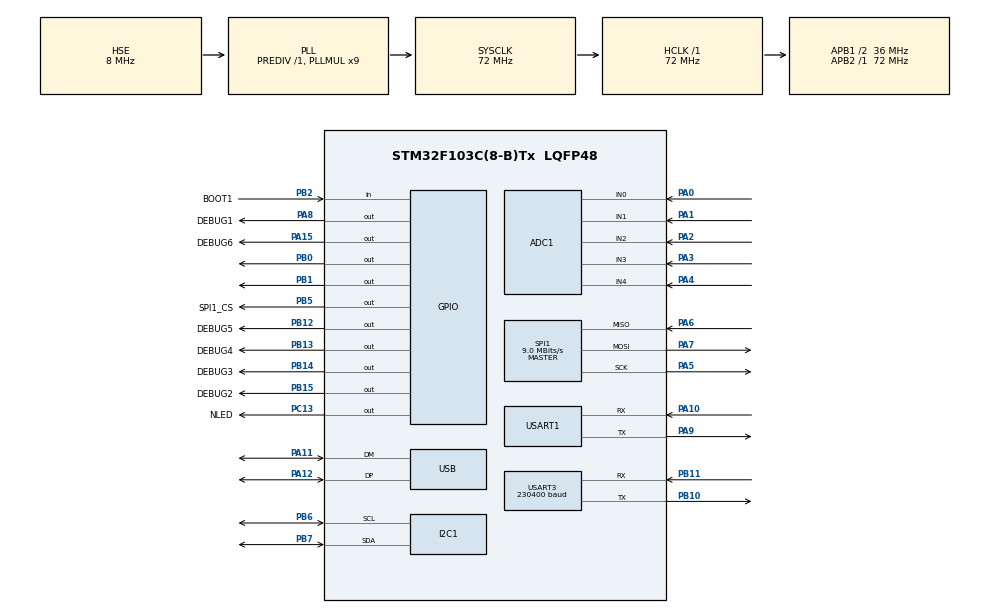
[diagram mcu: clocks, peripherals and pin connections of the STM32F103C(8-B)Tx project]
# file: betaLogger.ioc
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ADC1.Channel-0\#ChannelRegularConversion=ADC_CHANNEL_0
ADC1.Channel-1\#ChannelRegularConversion=ADC_CHANNEL_1
ADC1.Channel-2\#ChannelRegularConversion=ADC_CHANNEL_2
ADC1.Channel-3\#ChannelRegularConversion=ADC_CHANNEL_3
ADC1.Channel-4\#ChannelRegularConversion=ADC_CHANNEL_4
ADC1.ExternalTrigConv=ADC_EXTERNALTRIGCONV_T3_TRGO
ADC1.NbrOfConversion=5
ADC1.NbrOfConversionFlag=1
ADC1.Rank-0\#ChannelRegularConversion=1
ADC1.Rank-1\#ChannelRegularConversion=2
ADC1.Rank-2\#ChannelRegularConversion=3
ADC1.Rank-3\#ChannelRegularConversion=4
ADC1.Rank-4\#ChannelRegularConversion=5
ADC1.SamplingTime-0\#ChannelRegularConversion=ADC_SAMPLETIME_13CYCLES_5
ADC1.SamplingTime-1\#ChannelRegularConversion=ADC_SAMPLETIME_13CYCLES_5
ADC1.SamplingTime-2\#ChannelRegularConversion=ADC_SAMPLETIME_13CYCLES_5
ADC1.SamplingTime-3\#ChannelRegularConversion=ADC_SAMPLETIME_13CYCLES_5
ADC1.SamplingTime-4\#ChannelRegularConversion=ADC_SAMPLETIME_13CYCLES_5
ADC1.master=1
Dma.ADC1.2.Direction=DMA_PERIPH_TO_MEMORY
Dma.ADC1.2.Instance=DMA1_Channel1
Dma.ADC1.2.MemDataAlignment=DMA_MDATAALIGN_HALFWORD
Dma.ADC1.2.MemInc=DMA_MINC_ENABLE
Dma.ADC1.2.Mode=DMA_CIRCULAR
Dma.ADC1.2.PeriphDataAlignment=DMA_PDATAALIGN_HALFWORD
Dma.ADC1.2.PeriphInc=DMA_PINC_DISABLE
Dma.ADC1.2.Priority=DMA_PRIORITY_HIGH
Dma.Request0=USART3_RX
Dma.Request1=USART3_TX
Dma.Request2=ADC1
Dma.USART3_RX.0.Direction=DMA_PERIPH_TO_MEMORY
Dma.USART3_RX.0.Instance=DMA1_Channel3
Dma.USART3_RX.0.MemDataAlignment=DMA_MDATAALIGN_BYTE
Dma.USART3_RX.0.MemInc=DMA_MINC_ENABLE
Dma.USART3_RX.0.Mode=DMA_NORMAL
Dma.USART3_RX.0.PeriphDataAlignment=DMA_PDATAALIGN_BYTE
Dma.USART3_RX.0.PeriphInc=DMA_PINC_DISABLE
Dma.USART3_RX.0.Priority=DMA_PRIORITY_VERY_HIGH
Dma.USART3_TX.1.Direction=DMA_MEMORY_TO_PERIPH
Dma.USART3_TX.1.Instance=DMA1_Channel2
Dma.USART3_TX.1.MemDataAlignment=DMA_MDATAALIGN_BYTE
Dma.USART3_TX.1.MemInc=DMA_MINC_ENABLE
Dma.USART3_TX.1.Mode=DMA_NORMAL
Dma.USART3_TX.1.PeriphDataAlignment=DMA_PDATAALIGN_BYTE
Dma.USART3_TX.1.PeriphInc=DMA_PINC_DISABLE
Dma.USART3_TX.1.Priority=DMA_PRIORITY_VERY_HIGH
I2C1.I2C_Mode=I2C_Fast
Mcu.Family=STM32F1
Mcu.Name=STM32F103C(8-B)Tx
Mcu.Package=LQFP48
NVIC.ADC1_2_IRQn=true\:0\:0\:false\:false\:true\:true\:true
NVIC.DMA1_Channel1_IRQn=true\:0\:0\:false\:false\:true\:false\:true
NVIC.DMA1_Channel2_IRQn=true\:0\:0\:false\:false\:true\:false\:true
NVIC.DMA1_Channel3_IRQn=true\:0\:0\:false\:false\:true\:false\:true
NVIC.I2C1_ER_IRQn=true\:0\:0\:false\:false\:true\:true\:true
NVIC.I2C1_EV_IRQn=true\:2\:0\:true\:false\:true\:true\:true
NVIC.PriorityGroup=NVIC_PRIORITYGROUP_4
NVIC.TIM3_IRQn=true\:1\:0\:true\:false\:true\:true\:true
NVIC.USART3_IRQn=true\:15\:0\:true\:false\:true\:true\:true
PA0-WKUP.Signal=ADCx_IN0
PA1.Signal=ADCx_IN1
PA10.Mode=Asynchronous
PA10.Signal=USART1_RX
PA11.Mode=Device
PA11.Signal=USB_DM
PA12.Mode=Device
PA12.Signal=USB_DP
PA13.Mode=Serial_Wire
PA13.Signal=SYS_JTMS-SWDIO
PA14.Mode=Serial_Wire
PA14.Signal=SYS_JTCK-SWCLK
PA15.GPIO_Label=DEBUG6
PA15.Signal=GPIO_Output
PA2.Signal=ADCx_IN2
PA3.Signal=ADCx_IN3
PA4.Signal=ADCx_IN4
PA5.Mode=Full_Duplex_Master
PA5.Signal=SPI1_SCK
PA6.Mode=Full_Duplex_Master
PA6.Signal=SPI1_MISO
PA7.Mode=Full_Duplex_Master
PA7.Signal=SPI1_MOSI
PA8.GPIO_Label=DEBUG1
PA8.Signal=GPIO_Output
PA9.Mode=Asynchronous
PA9.Signal=USART1_TX
PB0.Signal=GPIO_Output
PB1.Signal=GPIO_Output
PB10.Mode=Asynchronous
PB10.Signal=USART3_TX
PB11.Mode=Asynchronous
PB11.Signal=USART3_RX
PB12.GPIO_Label=DEBUG5
PB12.Signal=GPIO_Output
PB13.GPIO_Label=DEBUG4
PB13.Signal=GPIO_Output
PB14.GPIO_Label=DEBUG3
PB14.Signal=GPIO_Output
PB15.GPIO_Label=DEBUG2
PB15.Signal=GPIO_Output
PB2.GPIO_Label=BOOT1
PB2.Signal=GPIO_Input
PB5.GPIO_Label=SPI1_CS
PB5.Signal=GPIO_Output
PB6.Mode=I2C
PB6.Signal=I2C1_SCL
PB7.Mode=I2C
PB7.Signal=I2C1_SDA
PC13-TAMPER-RTC.GPIO_Label=NLED
PC13-TAMPER-RTC.PinState=GPIO_PIN_SET
PC13-TAMPER-RTC.Signal=GPIO_Output
PD0-OSC_IN.Mode=HSE-External-Oscillator
PD0-OSC_IN.Signal=RCC_OSC_IN
PD1-OSC_OUT.Mode=HSE-External-Oscillator
PD1-OSC_OUT.Signal=RCC_OSC_OUT
ProjectManager.HeapSize=0x400
ProjectManager.StackSize=0x800
ProjectManager.TargetToolchain=Makefile
RCC.ADCPresc=RCC_ADCPCLK2_DIV6
RCC.AHBFreq_Value=72000000
RCC.APB1CLKDivider=RCC_HCLK_DIV2
RCC.APB1Freq_Value=36000000
RCC.APB1TimFreq_Value=72000000
RCC.APB2Freq_Value=72000000
RCC.APB2TimFreq_Value=72000000
RCC.HCLKFreq_Value=72000000
RCC.PLLMUL=RCC_PLL_MUL9
RCC.PLLSourceVirtual=RCC_PLLSOURCE_HSE
RCC.RCC_MCOSource=RCC_MCO1SOURCE_PLLCLK
RCC.SYSCLKFreq_VALUE=72000000
RCC.SYSCLKSource=RCC_SYSCLKSOURCE_PLLCLK
RCC.USBFreq_Value=48000000
RCC.USBPrescaler=RCC_USBCLKSOURCE_PLL_DIV1_5
SH.ADCx_IN0.0=ADC1_IN0,IN0
SH.ADCx_IN1.0=ADC1_IN1,IN1
SH.ADCx_IN2.0=ADC1_IN2,IN2
SH.ADCx_IN3.0=ADC1_IN3,IN3
SH.ADCx_IN4.0=ADC1_IN4,IN4
SPI1.BaudRatePrescaler=SPI_BAUDRATEPRESCALER_8
SPI1.CLKPhase=SPI_PHASE_2EDGE
SPI1.CLKPolarity=SPI_POLARITY_HIGH
SPI1.CalculateBaudRate=9.0 MBits/s
SPI1.Direction=SPI_DIRECTION_2LINES
SPI1.Mode=SPI_MODE_MASTER
SPI1.VirtualType=VM_MASTER
TIM3.Period=2789
TIM3.Prescaler=128
TIM3.TIM_MasterOutputTrigger=TIM_TRGO_UPDATE
USART1.VirtualMode=VM_ASYNC
USART3.BaudRate=230400
USART3.VirtualMode=VM_ASYNC
VP_TIM3_VS_ClockSourceINT.Mode=Internal
board=custom

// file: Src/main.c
/* USER CODE BEGIN Header */
/**
  ******************************************************************************
  * @file           : main.c
  * @brief          : Main program body
  ******************************************************************************
  * @attention
  *
  * <h2><center>&copy; Copyright (c) 2019 STMicroelectronics.
  * All rights reserved.</center></h2>
  *
  * This software component is licensed by ST under BSD 3-Clause license,
  * the "License"; You may not use this file except in compliance with the
  * License. You may obtain a copy of the License at:
  *                        opensource.org/licenses/BSD-3-Clause
  *
  ******************************************************************************
  */
/* USER CODE END Header */

#include "main.h"
#include "adc.h"
#include "dma.h"
#include "i2c.h"
#include "spi.h"
#include "tim.h"
#include "usart.h"
#include "usb.h"
#include "gpio.h"

/* USER CODE BEGIN Includes */
#include <string.h>
#include <stdio.h>
#include "ff.h"

/* USER CODE END Includes */

/* USER CODE BEGIN PV */
FATFS SDFatFs;  /* File system object for SD card logical drive */
FIL MyFile;     /* File object */
char SDPath[4]; /* SD card logical drive path */
uint32_t byteswritten;                     /* File write/read counts */
FRESULT res;

char textTxBuffer[500];
char mpuBuffer[42];
char timeBuffer[12];

uint8_t gpsReady;
uint8_t rawGps[69];
uint8_t sdBufferA[20][84];
uint8_t sdBufferB[20][84];
uint8_t sdBufferC[20][84];

uint16_t rawAdc[350];
uint8_t rawMpu[14];
uint8_t adcReady, mpuReady, timReady, nBuffer;
/* USER CODE END PV */

void SystemClock_Config(void);

int main(void)
{
    /* USER CODE BEGIN 1 */
    char fileName[13];
    char fileHeader[135];
    uint16_t fileNumber = 0;

    uint8_t mpuConfigTx, mpuConfigRx;

    /* USER CODE END 1 */

    /* MCU Configuration--------------------------------------------------------*/

    /* Reset of all peripherals, Initializes the Flash interface and the Systick. */
    HAL_Init();

    /* Configure the system clock */
    SystemClock_Config();

    /* Initialize all configured peripherals */
    MX_GPIO_Init();
    MX_DMA_Init();
    MX_TIM3_Init();
    MX_USART1_UART_Init();
    MX_SPI1_Init();
    MX_USART3_UART_Init();
    MX_ADC1_Init();
    MX_I2C1_Init();
    MX_USB_PCD_Init();
    /* USER CODE BEGIN 2 */
    sprintf(textTxBuffer, "betaLogger USART1 test\r");
    HAL_UART_Transmit(&huart1, (uint8_t *)textTxBuffer, strlen(textTxBuffer), 500);

    f_mount(&SDFatFs, (TCHAR const *)SDPath, 0);
    while (res == FR_OK) {
        sprintf(fileName, "file%04d.dlf", ++fileNumber);
        res = f_open(&MyFile, fileName, FA_OPEN_EXISTING | FA_READ);
    }
    f_open(&MyFile, fileName, FA_OPEN_ALWAYS | FA_WRITE);
    sprintf(fileHeader, "#V2\r#DATASTART\rDatalog Time; GPS Latitude; GPS Longitude; GPS Speed;Ax;Ay;Az;Gx;Gy;Gz;\rseg.; deg; deg; knots;un.;un.;un.;un.;un.;un.;\r");
    fileHeader[134] = 0x0A;
    f_write(&MyFile, fileHeader, sizeof(fileHeader), (void *)&byteswritten);
    f_sync(&MyFile);

    for(int i = 0; i < 20; i++) {
        for(int j = 0; j < 82; j++) {
            sdBufferA[i][j] = 0x30;
        }
        sdBufferA[i][10] = 0x41;
        sdBufferA[i][22] = 0x41;
        sdBufferA[i][34] = 0x41;
        sdBufferA[i][40] = 0x41;
        sdBufferA[i][47] = 0x41;
        sdBufferA[i][54] = 0x41;
        sdBufferA[i][61] = 0x41;
        sdBufferA[i][68] = 0x41;
        sdBufferA[i][75] = 0x41;
        sdBufferA[i][82] = 0x0D;
        sdBufferA[i][83] = 0x0A;
    }

    for(int i = 0; i < 20; i++) {
        for(int j = 0; j < 84; j++) {
            sdBufferB[i][j] = sdBufferA[i][j];
            sdBufferC[i][j] = sdBufferA[i][j];
        }
    }

    mpuConfigTx = 0b00000000;
    HAL_I2C_Mem_Write(&hi2c1, 0xD0, 0x6B, I2C_MEMADD_SIZE_8BIT, &mpuConfigTx, 1, 100);

    HAL_I2C_Mem_Read(&hi2c1, 0xD0, 0x75, I2C_MEMADD_SIZE_8BIT, &mpuConfigRx, 1, 100);
    // sprintf(txBuffer, "Slave Address: %x \r", mpuConfigRx);
    // HAL_UART_Transmit(&huart1, (uint8_t *)txBuffer, strlen(txBuffer), 500);

    HAL_I2C_Mem_Read(&hi2c1, 0xD0, 0x1A, I2C_MEMADD_SIZE_8BIT, &mpuConfigRx, 1, 100);
    // sprintf(txBuffer, "FIFO config: %x \r", mpuConfigRx);
    // HAL_UART_Transmit(&huart1, (uint8_t *)txBuffer, strlen(txBuffer), 500);

    mpuConfigTx = 0b00001000;
    HAL_I2C_Mem_Write(&hi2c1, 0xD0, 0x1B, I2C_MEMADD_SIZE_8BIT, &mpuConfigTx, 1, 100);
    HAL_I2C_Mem_Read(&hi2c1, 0xD0, 0x1B, I2C_MEMADD_SIZE_8BIT, &mpuConfigRx, 1, 100);
    // sprintf(txBuffer, "Gyr cfig: %x \r", mpuConfigRx);
    // HAL_UART_Transmit(&huart1, (uint8_t *)txBuffer, strlen(txBuffer), 500);

    mpuConfigTx = 0b00011000;
    HAL_I2C_Mem_Write(&hi2c1, 0xD0, 0x1C, I2C_MEMADD_SIZE_8BIT, &mpuConfigTx, 1, 100);
    HAL_I2C_Mem_Read(&hi2c1, 0xD0, 0x1C, I2C_MEMADD_SIZE_8BIT, &mpuConfigRx, 1, 100);
    // sprintf(txBuffer, "Acc cfig: %x \r", mpuConfigRx);
    // HAL_UART_Transmit(&huart1, (uint8_t *)txBuffer, strlen(txBuffer), 500);

    HAL_TIM_Base_Start_IT(&htim3);
    // HAL_ADCEx_Calibration_Start(&hadc1);
    // HAL_ADC_Start_DMA(&hadc1, (uint32_t *) rawAdc, 350);
    HAL_UART_Receive_DMA(&huart3, (uint8_t *)&rawGps, 51);

    adcReady = 0;
    mpuReady = 0;
    gpsReady = 0;
    timReady = 0;
    nBuffer = 1;
    /* USER CODE END 2 */

    /* Infinite loop */
    /* USER CODE BEGIN WHILE */
    while (1)
    {
        if (gpsReady == 0) {
            // HAL_GPIO_WritePin(GPIOB, GPIO_PIN_14, GPIO_PIN_SET);
            if (rawGps[1] == 0x47 && rawGps[17] == 0x41) {
                // HAL_GPIO_WritePin(GPIOB, GPIO_PIN_15, GPIO_PIN_SET);
                if(nBuffer == 1) {
                    sdBufferA[0][11] = 0x2D;				//-
                    for(int j = 12; j < 22; j++) { 			//latitude
                        sdBufferA[0][j] = rawGps[j+7];
                    }
                    sdBufferA[0][23] = 0x2D;				//-
                    for(int j = 24; j < 34; j++) { 			//longitude
                        sdBufferA[0][j] = rawGps[j+9];
                    }
                    for(int j = 35; j < 40; j++) { 			//speed
                        sdBufferA[0][j] = rawGps[j+11];
                    }

                    for(int i = 1; i < 20; i++) {
                        for(int j = 11; j < 41; j++) {
                            sdBufferA[i][j] = sdBufferA[0][j];
                        }
                    }

                    for(int i = 0; i < 20; i++) {
                        for(int j = 11; j < 41; j++) {
                            sdBufferB[i][j] = sdBufferA[i][j];
                            sdBufferC[i][j] = sdBufferA[i][j];
                        }
                    }
                }
                else if(nBuffer == 2) {
                    sdBufferB[0][11] = 0x2D;				//-
                    for(int j = 12; j < 22; j++) { 			//latitude
                        sdBufferB[0][j] = rawGps[j+7];
                    }
                    sdBufferB[0][23] = 0x2D;				//-
                    for(int j = 24; j < 34; j++) { 			//longitude
                        sdBufferB[0][j] = rawGps[j+9];
                    }
                    for(int j = 35; j < 40; j++) { 			//speed
                        sdBufferB[0][j] = rawGps[j+11];
                    }

                    for(int i = 1; i < 20; i++) {
                        for(int j = 11; j < 41; j++) {
                            sdBufferB[i][j] = sdBufferB[0][j];
                        }
                    }

                    for(int i = 0; i < 20; i++) {
                        for(int j = 11; j < 41; j++) {
                            sdBufferA[i][j] = sdBufferB[i][j];
                            sdBufferC[i][j] = sdBufferB[i][j];
                        }
                    }
                }
                else if(nBuffer == 3) {
                    sdBufferC[0][11] = 0x2D;				//-
                    for(int j = 12; j < 22; j++) { 			//latitude
                        sdBufferC[0][j] = rawGps[j+7];
                    }
                    sdBufferC[0][23] = 0x2D;				//-
                    for(int j = 24; j < 34; j++) { 			//longitude
                        sdBufferC[0][j] = rawGps[j+9];
                    }
                    for(int j = 35; j < 40; j++) { 			//speed
                        sdBufferC[0][j] = rawGps[j+11];
                    }

                    for(int i = 1; i < 20; i++) {
                        for(int j = 11; j < 41; j++) {
                            sdBufferC[i][j] = sdBufferC[0][j];
                        }
                    }

                    for(int i = 0; i < 20; i++) {
                        for(int j = 11; j < 41; j++) {
                            sdBufferA[i][j] = sdBufferC[i][j];
                            sdBufferB[i][j] = sdBufferC[i][j];
                        }
                    }
                }
                // HAL_GPIO_WritePin(GPIOB, GPIO_PIN_0, GPIO_PIN_RESET);
                HAL_GPIO_WritePin(GPIOA, GPIO_PIN_8, GPIO_PIN_SET);
                // HAL_GPIO_WritePin(GPIOB, GPIO_PIN_15, GPIO_PIN_RESET);
            } else {
                // HAL_GPIO_WritePin(GPIOB, GPIO_PIN_0, GPIO_PIN_SET);
                HAL_GPIO_WritePin(GPIOA, GPIO_PIN_8, GPIO_PIN_RESET);
            }
            gpsReady = 1;
            HAL_Delay(5);
            HAL_UART_Receive_DMA(&huart3, (uint8_t *)&rawGps, 51);
            // HAL_GPIO_WritePin(GPIOB, GPIO_PIN_14, GPIO_PIN_RESET);
        }

        if (mpuReady == 1 && timReady == 1) {
            // HAL_GPIO_WritePin(GPIOC, GPIO_PIN_13, GPIO_PIN_SET);
            if(nBuffer == 1) {
                // HAL_GPIO_WritePin(GPIOC, GPIO_PIN_13, GPIO_PIN_RESET);
                nBuffer = 2;
                adcReady = 0;
                mpuReady = 0;
                gpsReady = 0;
                timReady = 0;
                f_write(&MyFile, sdBufferA, sizeof(sdBufferA), (void *)&byteswritten);
                f_sync(&MyFile);
                // HAL_GPIO_WritePin(GPIOC, GPIO_PIN_13, GPIO_PIN_SET);
            }
            else if(nBuffer == 2) {
                // HAL_GPIO_WritePin(GPIOC, GPIO_PIN_13, GPIO_PIN_RESET);
                nBuffer = 3;
                adcReady = 0;
                mpuReady = 0;
                gpsReady = 0;
                timReady = 0;
                f_write(&MyFile, sdBufferB, sizeof(sdBufferB), (void *)&byteswritten);
                f_sync(&MyFile);
                // HAL_GPIO_WritePin(GPIOC, GPIO_PIN_13, GPIO_PIN_SET);
            }
            else if(nBuffer == 3) {
                // HAL_GPIO_WritePin(GPIOC, GPIO_PIN_13, GPIO_PIN_RESET);
                nBuffer = 1;
                adcReady = 0;
                mpuReady = 0;
                gpsReady = 0;
                timReady = 0;
                f_write(&MyFile, sdBufferC, sizeof(sdBufferC), (void *)&byteswritten);
                f_sync(&MyFile);
                // HAL_GPIO_WritePin(GPIOC, GPIO_PIN_13, GPIO_PIN_SET);
            }
            // HAL_GPIO_TogglePin(GPIOC, GPIO_PIN_13);
            HAL_GPIO_TogglePin(GPIOB, GPIO_PIN_15);
            // HAL_GPIO_WritePin(GPIOC, GPIO_PIN_13, GPIO_PIN_RESET);
        }

        /* USER CODE END WHILE */

    }
}

void SystemClock_Config(void)
{
    RCC_OscInitTypeDef RCC_OscInitStruct = {0};
    RCC_ClkInitTypeDef RCC_ClkInitStruct = {0};
    RCC_PeriphCLKInitTypeDef PeriphClkInit = {0};

    /** Initializes the CPU, AHB and APB busses clocks
    */
    RCC_OscInitStruct.OscillatorType = RCC_OSCILLATORTYPE_HSE;
    RCC_OscInitStruct.HSEState = RCC_HSE_ON;
    RCC_OscInitStruct.HSEPredivValue = RCC_HSE_PREDIV_DIV1;
    RCC_OscInitStruct.HSIState = RCC_HSI_ON;
    RCC_OscInitStruct.PLL.PLLState = RCC_PLL_ON;
    RCC_OscInitStruct.PLL.PLLSource = RCC_PLLSOURCE_HSE;
    RCC_OscInitStruct.PLL.PLLMUL = RCC_PLL_MUL9;
    if (HAL_RCC_OscConfig(&RCC_OscInitStruct) != HAL_OK)
    {
        Error_Handler();
    }
    /** Initializes the CPU, AHB and APB busses clocks
    */
    RCC_ClkInitStruct.ClockType = RCC_CLOCKTYPE_HCLK|RCC_CLOCKTYPE_SYSCLK
                                  |RCC_CLOCKTYPE_PCLK1|RCC_CLOCKTYPE_PCLK2;
    RCC_ClkInitStruct.SYSCLKSource = RCC_SYSCLKSOURCE_PLLCLK;
    RCC_ClkInitStruct.AHBCLKDivider = RCC_SYSCLK_DIV1;
    RCC_ClkInitStruct.APB1CLKDivider = RCC_HCLK_DIV2;
    RCC_ClkInitStruct.APB2CLKDivider = RCC_HCLK_DIV1;

    if (HAL_RCC_ClockConfig(&RCC_ClkInitStruct, FLASH_LATENCY_2) != HAL_OK)
    {
        Error_Handler();
    }
    PeriphClkInit.PeriphClockSelection = RCC_PERIPHCLK_ADC|RCC_PERIPHCLK_USB;
    PeriphClkInit.AdcClockSelection = RCC_ADCPCLK2_DIV6;
    PeriphClkInit.UsbClockSelection = RCC_USBCLKSOURCE_PLL_DIV1_5;
    if (HAL_RCCEx_PeriphCLKConfig(&PeriphClkInit) != HAL_OK)
    {
        Error_Handler();
    }
}

/* USER CODE BEGIN 4 */
void HAL_TIM_PeriodElapsedCallback(TIM_HandleTypeDef *htim)
{
    // HAL_GPIO_WritePin(GPIOB, GPIO_PIN_12, GPIO_PIN_SET);
    HAL_I2C_Mem_Read_IT(&hi2c1, 0xD0, 0x3B, I2C_MEMADD_SIZE_8BIT, rawMpu, 14);

    static uint32_t seconds, millis;

    millis = millis + 5;
    // timeAux++;
    // if(timeAux == 2950) {
    //     millis = millis-2;
    //     timeAux =0;
    // }
    if(millis == 1000) {
        millis =0;
        seconds++;
    }

    sprintf(timeBuffer,"%06d.%03dA", seconds, millis);

    static uint8_t iTim = 0;

    if(timReady ==0) {
        if(nBuffer ==1) {
            for (int i = 0; i < 11; i++) {
                sdBufferA[iTim][i] = timeBuffer[i];
            }
        } else if(nBuffer ==2) {
            for (int i = 0; i < 11; i++) {
                sdBufferB[iTim][i] = timeBuffer[i];
            }
        }
        else if(nBuffer ==3) {
            for (int i = 0; i < 11; i++) {
                sdBufferC[iTim][i] = timeBuffer[i];
            }
        }

        iTim++;
        if (iTim == 20) {
            timReady = 1;
            iTim = 0;
        }
    }
    // HAL_GPIO_WritePin(GPIOB, GPIO_PIN_12, GPIO_PIN_RESET);
}

void HAL_I2C_MemRxCpltCallback(I2C_HandleTypeDef *hi2c)
{
    // HAL_GPIO_WritePin(GPIOB, GPIO_PIN_13, GPIO_PIN_SET);

    uint32_t xAcc = (rawMpu[0] << 8) | (0x00F0 & rawMpu[1]);
    uint32_t yAcc = (rawMpu[2] << 8) | (0x00F0 & rawMpu[3]);
    uint32_t zAcc = (rawMpu[4] << 8) | (0x00F0 & rawMpu[5]);
    uint32_t xGyr = (rawMpu[8] << 8) | (0x00FF & rawMpu[9]);
    uint32_t yGyr = (rawMpu[10] << 8) | (0x00FF & rawMpu[11]);
    uint32_t zGyr = (rawMpu[12] << 8) | (0x00FF & rawMpu[13]);

    static uint8_t iMpu = 0;

    if(mpuReady == 0) {
        sprintf(mpuBuffer, "%06hdA%06hdA%06hdA%06hdA%06hdA%06hd", xAcc, yAcc, zAcc, xGyr, yGyr, zGyr);

        if(nBuffer == 1) {
            for (int i = 0; i < 41; i++) {
                sdBufferA[iMpu][i+41] = mpuBuffer[i];
            }
        } else if(nBuffer == 2) {
            for (int i = 0; i < 41; i++) {
                sdBufferB[iMpu][i+41] = mpuBuffer[i];
            }
        }
        else if(nBuffer == 3) {
            for (int i = 0; i < 41; i++) {
                sdBufferC[iMpu][i+41] = mpuBuffer[i];
            }
        }

        iMpu++;
        if (iMpu == 20) {
            mpuReady = 1;
            iMpu = 0;
        }
    }

    // HAL_GPIO_WritePin(GPIOB, GPIO_PIN_13, GPIO_PIN_RESET);
}

void HAL_UART_RxCpltCallback(UART_HandleTypeDef *huart)
{
    // HAL_GPIO_WritePin(GPIOA, GPIO_PIN_15, GPIO_PIN_SET);
    // HAL_GPIO_WritePin(GPIOA, GPIO_PIN_15, GPIO_PIN_RESET);
}

// void HAL_ADC_ConvCpltCallback(ADC_HandleTypeDef *hadc)
// {
//     for (iAdc = 0; iAdc < 50; iAdc++) {
//         for (j = 0; j < 7; j++) {
//             buffer[iAdc][j] = rawAdc[7 * iAdc + j];
//         }
//         j = 0;
//     }
//     iAdc = 0;
//     adcReady = 1;
// }
/* USER CODE END 4 */

void Error_Handler(void)
{
}

/************************ (C) COPYRIGHT STMicroelectronics *****END OF FILE****/
